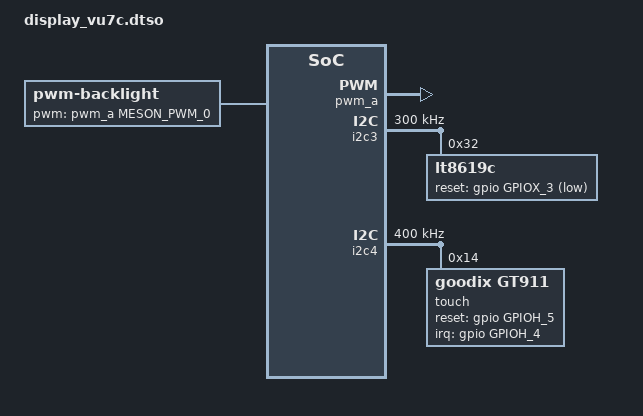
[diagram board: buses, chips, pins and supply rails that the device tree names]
/*
 * arch/arm64/boot/dts/amlogic/overlays/odroidc4/display_vu7c.dtso
 *
 * Copyright (C) 2022 Hardkernel, Inc. All rights reserved.
 *
 * This program is free software; you can redistribute it and/or modify
 * it under the terms of the GNU General Public License as published by
 * the Free Software Foundation; either version 2 of the License, or
 * (at your option) any later version.
 *
 * This program is distributed in the hope that it will be useful, but WITHOUT
 * ANY WARRANTY; without even the implied warranty of MERCHANTABILITY or
 * FITNESS FOR A PARTICULAR PURPOSE.  See the GNU General Public License for
 * more details.
 *
 */

/dts-v1/;
/plugin/;

#include <dt-bindings/gpio/meson-s7d-gpio.h>
#include <dt-bindings/gpio/gpio.h>

#include <dt-bindings/pwm/meson.h>
#include <dt-bindings/pwm/pwm.h>

#include <dt-bindings/interrupt-controller/irq.h>

&{/} {
	backlight: backlight {
		compatible = "pwm-backlight";
		pwms = <&pwm_a MESON_PWM_0 11340 0>;
		brightness-levels = <0 4096>;
		num-interpolated-steps = <64>;
		default-brightness-level = <1024>;
		status = "okay";
	};
};

&pwm_a {
	status = "okay";
	/* pinctrl-names = "pwm_pins"; */
	pinctrl-names = "default";
	pinctrl-0 = <&pwm_a_gpio_x6>;
};

&i2c3 {
	status = "okay";
	pinctrl-names = "default";
	pinctrl-0 = <&i2c3_pins1>;
	clock-frequency = <300000>; /* default 100k */

	#address-cells = <1>;
	#size-cells = <0>;

	lt8619c: hdmi-bridge@32 {
		compatible = "lt8619c";
		reg = <0x32>;
		reset-gpios = <&gpio GPIOX_3 GPIO_ACTIVE_LOW>;
	 };
};

&i2c4 {
	status = "okay";
	pinctrl-names = "default";
	pinctrl-0 = <&i2c4_pins2>;
	clock-frequency = <400000>; /* default 400k */

	#address-cells = <1>;
	#size-cells = <0>;

	touch: gt9xx@14 {
		compatible = "goodix,gt911";
		status = "okay";
		reg = <0x14>;
		interrupt-parent = <&gpio_intc>;
		interrupts = <33 IRQ_TYPE_EDGE_FALLING>;
		reset-gpios = <&gpio GPIOH_5 GPIO_ACTIVE_HIGH>;
		irq-gpios = <&gpio GPIOH_4 0>;
	};
};
